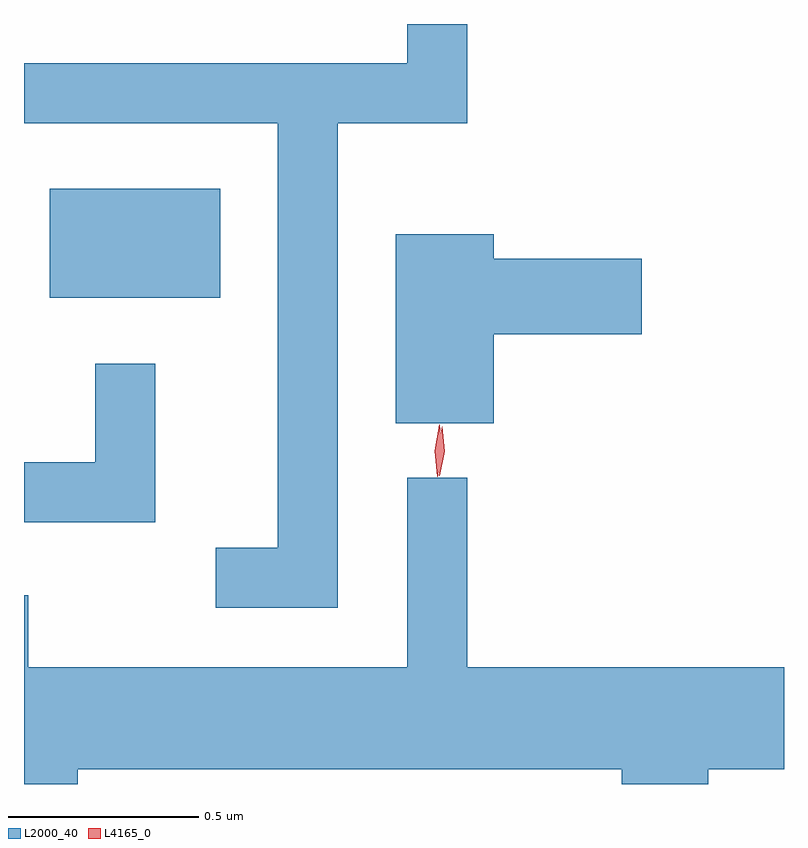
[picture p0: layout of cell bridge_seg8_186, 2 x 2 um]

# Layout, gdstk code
import gdstk
lib = gdstk.Library(unit=1e-6, precision=1e-09)
def R(c, l, rs):  # rectangles x0, y0, x1, y1
    for r in rs: c.add(gdstk.rectangle(r[:2], r[2:], *l))
def P(c, l, *ps):  # polygons
    for p in ps: c.add(gdstk.Polygon(p, *l))
L2000_40 = (2000, 40)
L4165_0 = (4165, 0)

bridge_seg8_186 = lib.new_cell('bridge_seg8_186')
R(bridge_seg8_186, L2000_40, [(1136.376,1933.116,1136.824,1933.404)])
P(bridge_seg8_186, L2000_40, [(1137.134,1933.576),(1137.474,1933.576),(1137.474,1933.837),(1137.316,1933.837),(1137.316,1933.734),(1136.308,1933.734),(1136.308,1933.576),(1136.976,1933.576),(1136.976,1932.459),(1136.813,1932.459),(1136.813,1932.301),(1137.134,1932.301)],
  [(1137.544,1933.021),(1137.934,1933.021),(1137.934,1933.219),(1137.544,1933.219),(1137.544,1933.284),(1137.286,1933.284),(1137.286,1932.786),(1137.544,1932.786)],
  [(1136.654,1932.943),(1136.496,1932.943),(1136.496,1932.684),(1136.308,1932.684),(1136.308,1932.526),(1136.654,1932.526)],
  [(1136.449,1931.876),(1137.881,1931.876),(1137.881,1931.837),(1138.109,1931.837),(1138.109,1931.876),(1138.308,1931.876),(1138.308,1932.144),(1137.474,1932.144),(1137.474,1932.643),(1137.316,1932.643),(1137.316,1932.144),(1136.319,1932.144),(1136.319,1932.334),(1136.308,1932.334),(1136.308,1931.837),(1136.449,1931.837)])
P(bridge_seg8_186, L4165_0, [(1137.401,1932.648),(1137.401,1932.648),(1137.395,1932.714),(1137.408,1932.779),(1137.408,1932.779),(1137.408,1932.779),(1137.415,1932.713),(1137.402,1932.648)],
  [(1137.396,1932.645),(1137.396,1932.645),(1137.389,1932.714),(1137.401,1932.782),(1137.401,1932.782),(1137.402,1932.782),(1137.409,1932.713),(1137.397,1932.645)])

lib.write_gds('bridge_seg8_186.gds')
